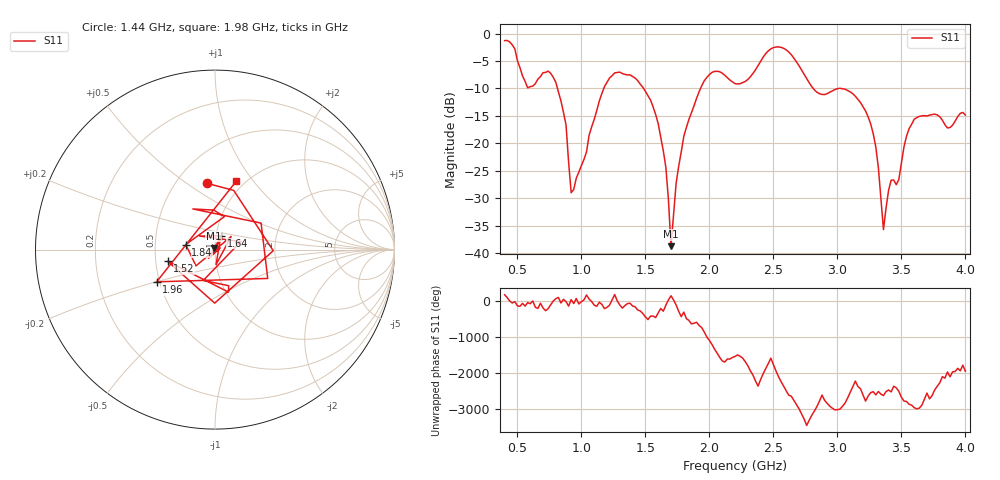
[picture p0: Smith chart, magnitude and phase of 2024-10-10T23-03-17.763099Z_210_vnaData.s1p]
! Created with skrf (http://scikit-rf.org).
# Hz S RI R 50.0
!freq ReS11 ImS11
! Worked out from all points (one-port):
!   181 points, 400 MHz to 4 GHz, reference 50 ohm
!   lowest |S11| = -38.7 dB at 1.7 GHz (marker M1), VSWR 1.02, Z = 49.2 + j0.862 ohm
!   |S11| at or under -10 dB: 813.1 MHz to 1.175 GHz (361.6 MHz wide, 36.4 % of centre); 1.486 GHz to 1.931 GHz (444.5 MHz wide, 26 % of centre); 3.029 GHz to end of sweep (the widest 3 of 4)
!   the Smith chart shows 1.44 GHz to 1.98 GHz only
!   S11 on the Smith chart (normalised r, x): 1.44 GHz: 0.70, +0.60; 1.52 GHz: 0.58, -0.08; 1.64 GHz: 1.06, +0.17; 1.84 GHz: 0.72, +0.04; 1.96 GHz: 0.48, -0.20; 1.98 GHz: 0.91, +0.83
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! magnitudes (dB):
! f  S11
! 400 MHz  -1.3
! 580 MHz  -9.9
! 760 MHz  -7.2
! 860 MHz  -14.4
! 880 MHz  -16.6
! 920 MHz  -29.0
! 1.18 GHz  -9.7
! 1.3 GHz  -7.0
! 1.44 GHz  -8.6
! 1.52 GHz  -11.3
! 1.64 GHz  -21.4
! 1.66 GHz  -24.4
! 1.7 GHz  -38.7
! 1.76 GHz  -24.2
! 1.84 GHz  -15.6
! 1.96 GHz  -8.6
! 1.98 GHz  -8.0
! 2.2 GHz  -9.1
! 2.5 GHz  -2.6
! 2.66 GHz  -4.5
! 2.84 GHz  -10.7
! 3.1 GHz  -10.6
! 3.28 GHz  -18.2
! 3.36 GHz  -35.7
! 3.4 GHz  -28.5
! 3.48 GHz  -26.6
! 3.56 GHz  -17.3
! 4 GHz  -14.8
